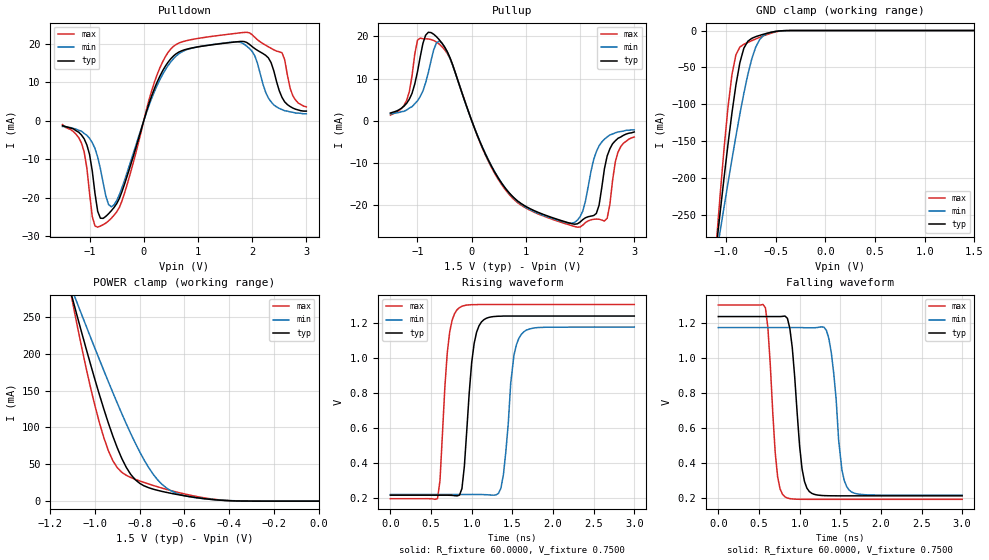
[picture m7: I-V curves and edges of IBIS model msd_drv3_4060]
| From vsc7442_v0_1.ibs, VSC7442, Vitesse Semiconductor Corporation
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|   Model msd_drv3_4060
[Model]  msd_drv3_4060
Model_type I/O
Polarity   Non-Inverting
Enable   Active-High
Vinl =   0.5750V
Vinh =   0.9250V
Vmeas =  0.7500V
Cref =   0.0F
Rref =   60.0000
Vref =   0.7500V
C_comp   2.0000pF   1.8000pF   2.2000pF
[Temperature Range]   25.0000   0.1250k   -40.0000
[Pullup Reference]   1.5000V   1.4250V   1.5750V
[Pulldown Reference]   0.0V   0.0V   0.0V
[POWER Clamp Reference]   1.5000V   1.4250V   1.5750V
[GND Clamp Reference]   0.0V   0.0V   0.0V
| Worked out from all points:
|   slope of the pulldown table from 0 to 0.225 V, typ, clamps not added: 24.1 ohm
|   slope of the pullup table from 0 to 0.225 V, typ, clamps not added: 31.4 ohm
|   GND clamp passes 1 mA (typ) near -0.49 V on its own axis
|   POWER clamp passes 1 mA (typ) near -0.43 V on its own axis
|   rising waveform, R_fixture 60.0000, V_fixture 0.7500: 20-80 % time 101ps typ, 104ps min, 89.7ps max; typ from 0.213 V to 1.24 V
|   falling waveform, R_fixture 60.0000, V_fixture 0.7500: 20-80 % time 104ps typ, 107ps min, 86.9ps max; typ from 1.24 V to 0.213 V
[Pulldown]
|Voltage   I(typ)   I(min)   I(max)
-1.5V     -1.3mA     -1.5mA     -1mA
-1.05V    -6.3mA     -3.8mA     -12.3mA
-950mV    -13.1mA    -5.7mA     -24.94mA
-850mV    -23.58mA   -9.5mA     -27.7mA
-550mV    -22.61mA   -21.91mA   -24.62mA
250mV     10.16mA    9.274mA    12.13mA
600mV     17.45mA    16.87mA    19.87mA
1.95V     19.88mA    18.79mA    22.87mA
2.35V     15.1mA     4.9mA      18.84mA
2.6V      4.9mA      2.6mA      15.9mA
2.75V     3.3mA      2.2mA      6.5mA
3V        2.5mA      1.8mA      3.6mA
[Pullup]
|Voltage   I(typ)   I(min)   I(max)
-1.5V     1.8mA      1.6mA      1.3mA
-1.2V     4.1mA      2.5mA      4.8mA
-1V       11.6mA     4.7mA      19.1mA
-750mV    20.91mA    14.23mA    19.26mA
-500mV    17.5mA     17.48mA    16.86mA
600mV     -15.71mA   -15.68mA   -16.07mA
1.8V      -24.32mA   -24.37mA   -24.77mA
2.05V     -23.53mA   -21.49mA   -24.83mA
2.3V      -22.07mA   -7.4mA     -23.4mA
2.5V      -8.4mA     -3.9mA     -23.2mA
2.7V      -4.2mA     -2.7mA     -7.5mA
3V        -2.7mA     -2.2mA     -3.9mA
[GND_clamp]
|Voltage   I(typ)   I(min)   I(max)
-1.5V     -805.7mA   -649.8mA   -1.033A
-1.1V     -296.4mA   -306.1mA   -292.6mA
-1.06V    -247.5mA   -272.5mA   -224.4mA
-980mV    -154.1mA   -206.4mA   -104mA
-940mV    -111.5mA   -174.2mA   -59.72mA
-900mV    -73.64mA   -142.9mA   -32.82mA
-860mV    -43.43mA   -112.9mA   -22.35mA
-820mV    -23.88mA   -84.77mA   -18.6mA
-740mV    -10.55mA   -38.16mA   -13.7mA
-660mV    -6.517mA   -12.05mA   -9.15mA
-500mV    -1.199mA   -1.16mA    -1.904mA
1.5V      1.743nA    403.5nA    140.4pA
[POWER_clamp]
|Voltage   I(typ)   I(min)   I(max)
-1.5V     743.2mA    604.5mA    941.6mA
-1.1V     274.1mA    284.7mA    269.5mA
-1.08V    251.5mA    269mA      238.9mA
-1.02V    185.7mA    222.4mA    154.2mA
-940mV    105.7mA    161.9mA    68.36mA
-900mV    72.1mA     132.8mA    45.22mA
-860mV    45.8mA     104.9mA    35.06mA
-800mV    24.13mA    66.93mA    27.39mA
-720mV    14.64mA    28.98mA    19.45mA
-620mV    8.313mA    9.03mA     11.21mA
-400mV    592.3uA    795.4uA    672uA
0V        1.743nA    41.45nA    217.5pA
[Ramp]
| variable   typ   min   max
dV/dt_r  0.5524/0.1180n   0.5280/0.1371n   0.5818/0.1103n
dV/dt_f  0.5903/0.1532n   0.5536/0.1674n   0.6590/0.1331n
R_load = 60.0000
[Rising Waveform]
R_fixture= 60.0000
V_fixture= 0.7500
V_fixture_min= 0.7125
V_fixture_max= 0.7875
|time   V(typ)   V(min)   V(max)
0s        213.4mV    217.5mV    193.4mV
580ps     213.4mV    217.5mV    194.4mV
700ps     213.4mV    217.5mV    1.03V
850ps     214mV      217.5mV    1.287V
1ns       972.9mV    217.6mV    1.304V
1.12ns    1.205V     217.2mV    1.305V
1.36ns    1.238V     254.3mV    1.305V
1.52ns    1.239V     1.015V     1.305V
1.61ns    1.239V     1.134V     1.305V
3ns       1.239V     1.176V     1.305V
[Falling Waveform]
R_fixture= 60.0000
V_fixture= 0.7500
V_fixture_min= 0.7125
V_fixture_max= 0.7875
|time   V(typ)   V(min)   V(max)
0s        1.239V     1.176V     1.305V
580ps     1.239V     1.176V     1.289V
730ps     1.239V     1.176V     321.6mV
820ps     1.242V     1.176V     207.9mV
1.03ns    368.7mV    1.176V     193.6mV
1.12ns    237.7mV    1.175V     193.4mV
1.36ns    213.9mV    1.113V     193.4mV
1.52ns    213.4mV    362.5mV    193.4mV
1.61ns    213.4mV    246mV      193.4mV
3ns       213.4mV    217.5mV    193.4mV
